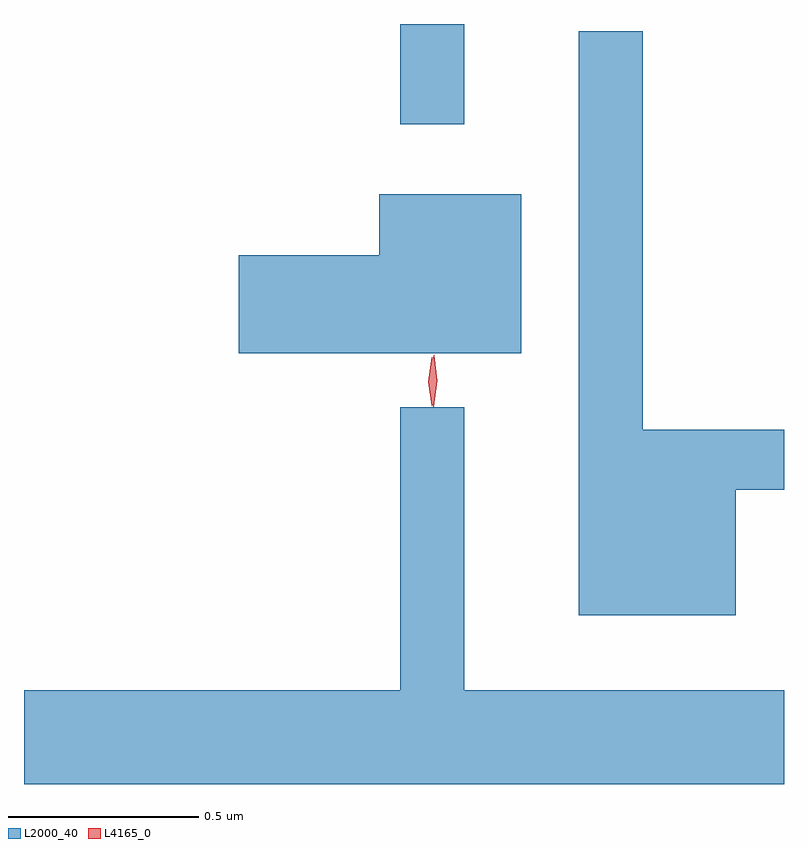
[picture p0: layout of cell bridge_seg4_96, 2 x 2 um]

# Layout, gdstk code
import gdstk
lib = gdstk.Library(unit=1e-6, precision=1e-09)
def R(c, l, rs):  # rectangles x0, y0, x1, y1
    for r in rs: c.add(gdstk.rectangle(r[:2], r[2:], *l))
def P(c, l, *ps):  # polygons
    for p in ps: c.add(gdstk.Polygon(p, *l))
L2000_40 = (2000, 40)
L4165_0 = (4165, 0)

bridge_seg4_96 = lib.new_cell('bridge_seg4_96')
R(bridge_seg4_96, L2000_40, [(1028.611,1343.113,1028.779,1343.377)])
P(bridge_seg4_96, L2000_40, [(1029.494,1342.151),(1029.621,1342.151),(1029.621,1342.309),(1029.249,1342.309),(1029.249,1343.358),(1029.081,1343.358),(1029.081,1341.821),(1029.494,1341.821)],
  [(1028.929,1342.929),(1028.556,1342.929),(1028.556,1342.769),(1028.186,1342.769),(1028.186,1342.511),(1028.929,1342.511)],
  [(1029.621,1341.624),(1028.779,1341.624),(1028.779,1342.368),(1028.611,1342.368),(1028.611,1341.624),(1027.621,1341.624),(1027.621,1341.377),(1029.621,1341.377)])
P(bridge_seg4_96, L4165_0, [(1028.698,1342.37),(1028.698,1342.37),(1028.689,1342.438),(1028.699,1342.505),(1028.7,1342.506),(1028.7,1342.505),(1028.709,1342.438),(1028.699,1342.37)],
  [(1028.694,1342.373),(1028.685,1342.436),(1028.694,1342.5),(1028.695,1342.5),(1028.695,1342.5),(1028.705,1342.436),(1028.695,1342.373),(1028.695,1342.373)])

lib.write_gds('bridge_seg4_96.gds')
